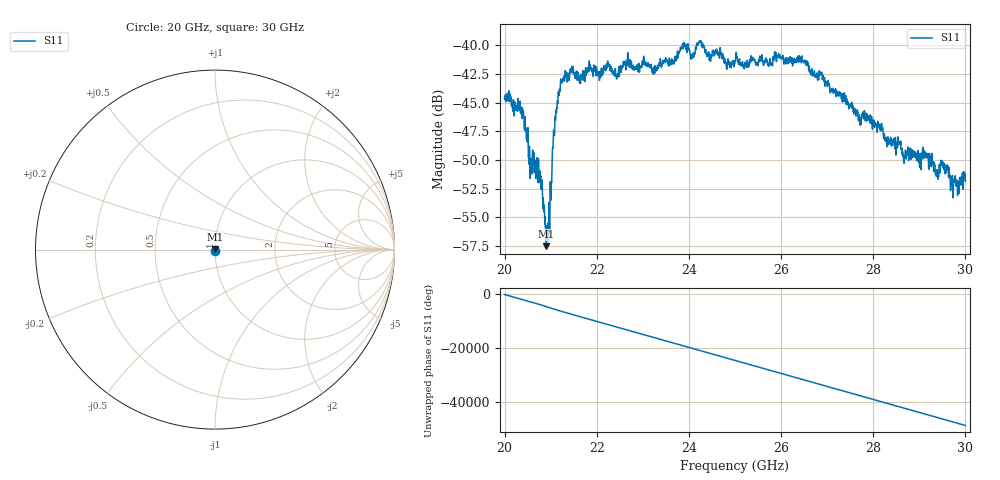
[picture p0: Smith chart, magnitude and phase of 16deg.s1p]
#  HZ  S  RI  R  50.00
! Rohde & Schwarz ZVA40 4Ports - Version 3.90 - 1145.1110k42 SN: 100403
! Date: 2023-10-03 11:40:32
! Measurement: S12
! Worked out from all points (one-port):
!   5001 points, 20 GHz to 30 GHz, reference 50 ohm
!   lowest |S11| = -57.5 dB at 20.91 GHz (marker M1), VSWR 1.00, Z = 50 + j0.128 ohm
!   |S11| at or under -10 dB: start of sweep to end of sweep
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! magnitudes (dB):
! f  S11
! 20 GHz  -44.6
! 20.37 GHz  -45.8
! 20.56 GHz  -50.4
! 20.78 GHz  -51.4
! 20.91 GHz  -57.5
! 20.97 GHz  -56.2
! 21.1 GHz  -46.5
! 21.25 GHz  -43.1
! 21.46 GHz  -42.1
! 21.64 GHz  -43.3
! 22.5 GHz  -41.8
! 22.65 GHz  -41.5
! 23.24 GHz  -42.0
! 23.75 GHz  -40.5
! 23.9 GHz  -39.9
! 24.08 GHz  -40.8
! 24.22 GHz  -39.8
! 24.43 GHz  -40.6
! 25 GHz  -41.4
! 26.25 GHz  -41.8
! 26.49 GHz  -41.5
! 27.5 GHz  -45.1
! 28.75 GHz  -48.9
! 29.12 GHz  -49.6
! 29.38 GHz  -51.0
! 29.5 GHz  -50.2
! 29.72 GHz  -51.4
! 30 GHz  -51.9
